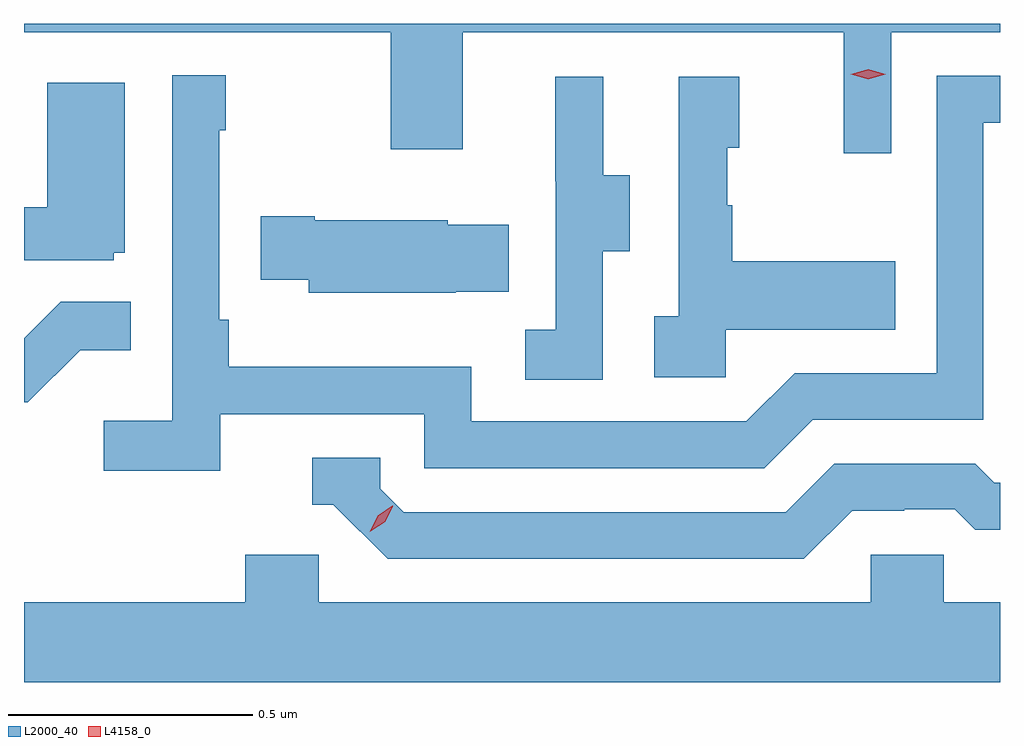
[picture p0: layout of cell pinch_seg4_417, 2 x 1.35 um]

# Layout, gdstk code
import gdstk
lib = gdstk.Library(unit=1e-6, precision=1e-09)
def P(c, l, *ps):  # polygons
    for p in ps: c.add(gdstk.Polygon(p, *l))
L2000_40 = (2000, 40)
L4158_0 = (4158, 0)

pinch_seg4_417 = lib.new_cell('pinch_seg4_417')
P(pinch_seg4_417, L2000_40, [(999.129,790.16),(999.352,790.16),(999.352,790.178),(997.352,790.178),(997.352,790.16),(998.104,790.16),(998.104,789.921),(998.251,789.921),(998.251,790.16),(999.032,790.16),(999.032,789.912),(999.129,789.912)],
  [(997.754,789.378),(998.172,789.378),(998.172,789.267),(998.869,789.267),(998.968,789.366),(999.318,789.366),(999.318,789.975),(999.352,789.975),(999.352,790.071),(999.222,790.071),(999.222,789.462),(998.931,789.462),(998.832,789.363),(998.268,789.363),(998.268,789.475),(997.772,789.475),(997.772,789.571),(997.752,789.571),(997.752,789.959),(997.765,789.959),(997.765,790.072),(997.656,790.072),(997.656,789.364),(997.515,789.364),(997.515,789.262),(997.754,789.262)],
  [(998.538,789.712),(998.593,789.712),(998.593,789.867),(998.539,789.867),(998.539,790.069),(998.441,790.069),(998.441,789.855),(998.442,789.855),(998.442,789.551),(998.379,789.551),(998.379,789.448),(998.538,789.448)],
  [(998.79,789.551),(999.137,789.551),(999.137,789.691),(998.803,789.691),(998.803,789.806),(998.793,789.806),(998.793,789.924),(998.818,789.924),(998.818,790.069),(998.694,790.069),(998.694,789.578),(998.643,789.578),(998.643,789.453),(998.79,789.453)],
  [(997.536,789.708),(997.558,789.708),(997.558,790.057),(997.4,790.057),(997.4,789.802),(997.352,789.802),(997.352,789.693),(997.536,789.693)],
  [(998.237,789.629),(998.345,789.629),(998.345,789.766),(998.22,789.766),(998.22,789.775),(997.948,789.775),(997.948,789.783),(997.837,789.783),(997.837,789.653),(997.935,789.653),(997.935,789.626),(998.237,789.626)],
  [(997.467,789.509),(997.571,789.509),(997.571,789.608),(997.427,789.608),(997.352,789.533),(997.352,789.402),(997.36,789.402)],
  [(999.049,789.18),(999.156,789.18),(999.156,789.183),(999.259,789.183),(999.301,789.141),(999.352,789.141),(999.352,789.237),(999.34,789.237),(999.301,789.276),(999.012,789.276),(998.913,789.177),(998.13,789.177),(998.082,789.225),(998.082,789.288),(997.943,789.288),(997.943,789.192),(997.986,789.192),(998.097,789.081),(998.95,789.081)],
  [(999.352,788.992),(999.237,788.992),(999.237,789.09),(999.087,789.09),(999.087,788.992),(997.956,788.992),(997.956,789.09),(997.805,789.09),(997.805,788.992),(997.352,788.992),(997.352,788.828),(999.352,788.828)])
P(pinch_seg4_417, L4158_0, [(999.082,790.064),(999.046,790.074),(999.046,790.074),(999.046,790.074),(999.082,790.084),(999.118,790.074),(999.118,790.074),(999.118,790.074)],
  [(998.061,789.137),(998.061,789.137),(998.077,789.17),(998.107,789.19),(998.108,789.19),(998.108,789.189),(998.092,789.157),(998.061,789.137)])

lib.write_gds('pinch_seg4_417.gds')
